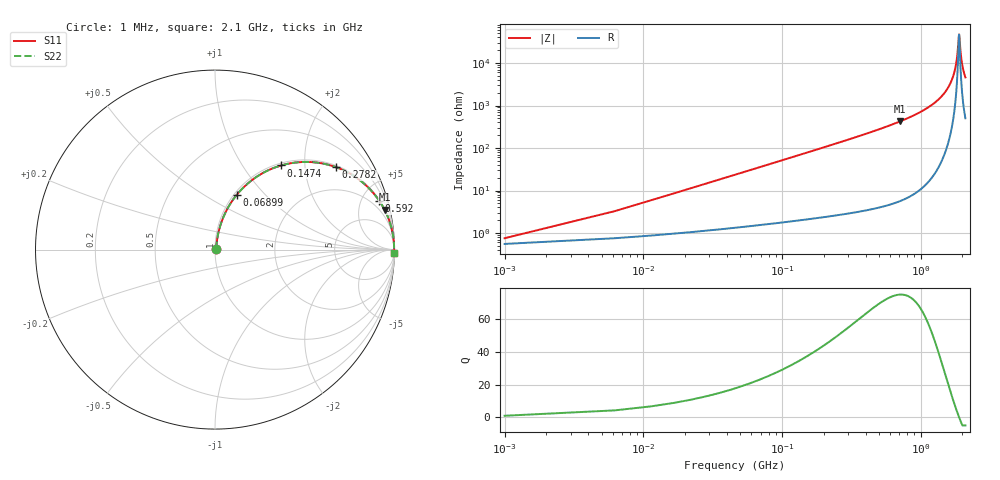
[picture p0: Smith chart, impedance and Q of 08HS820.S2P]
! Coilcraft 0805HS-820 Chip Inductor
! 13 June 2002
# MHZ S MA R 50
!Freq  MagS11  AngS11  MagS21  AngS21  MagS12  AngS12  MagS22  AngS22
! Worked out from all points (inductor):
!   403 points, 1 MHz to 2.1 GHz, reference 50 ohm
!   read as one part in series: L = 81.4 nH near 11.46 MHz
!   highest Q = 75 at 712.3 MHz (marker M1), where L = 94.9 nH
!   self-resonance near 1.889 GHz
!   S11 on the Smith chart (normalised r, x): 1 MHz: 1.01, +0.01; 68.99 MHz: 1.03, +0.71; 147.4 MHz: 1.04, +1.52; 278.2 MHz: 1.06, +2.91; 592 MHz: 1.09, +6.71; 2.1 GHz: 11, -91
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1  0.007498 42.4  0.9945 -0.3  0.9945 -0.3  0.007498 42.4
16.69  0.08479 78.7  0.9869 -4.8  0.9869 -4.8  0.08479 78.7
21.92  0.1108 78.3  0.9836 -6.3  0.9836 -6.3  0.1108 78.3
42.84  0.2119 74.4  0.9649 -12.2  0.9649 -12.2  0.2119 74.4
68.99  0.329 68.3  0.9302 -19.2  0.9302 -19.2  0.329 68.3
147.44  0.5968 51.8  0.7863 -36.6  0.7863 -36.6  0.5968 51.8
278.19  0.8168 34.2  0.5616 -54.8  0.5616 -54.8  0.8168 34.2
351.41  0.8749 28.0  0.4699 -61.0  0.4699 -61.0  0.8749 28.0
591.99  0.9548 16.5  0.2844 -72.7  0.2844 -72.7  0.9548 16.5
701.82  0.9694 13.5  0.2329 -75.8  0.2329 -75.8  0.9694 13.5
712.28  0.9705 13.2  0.2286 -76.0  0.2286 -76.0  0.9705 13.2
1052.23  0.9899 7.3  0.127 -81.8  0.127 -81.8  0.9899 7.3
1402.64  0.9962 3.6  0.06251 -84.8  0.06251 -84.8  0.9962 3.6
1611.84  0.9976 1.9  0.03317 -84.9  0.03317 -84.9  0.9976 1.9
1753.05  0.9979 0.9  0.01581 -81.9  0.01581 -81.9  0.9979 0.9
1821.04  0.9979 0.4  0.008085 -74.9  0.008085 -74.9  0.9979 0.4
1878.57  0.9979 0.1  0.002527 -33.7  0.002527 -33.7  0.9979 0.1
1894.26  0.9979 -0.0  0.00214 8.3  0.00214 8.3  0.9979 -0.0
1941.33  0.9978 -0.3  0.005795 67.7  0.005795 67.7  0.9978 -0.3
1977.94  0.9977 -0.5  0.00949 76.0  0.00949 76.0  0.9977 -0.5
2030.24  0.9976 -0.8  0.01479 80.3  0.01479 80.3  0.9976 -0.8
2100  0.9974 -1.2  0.02173 82.5  0.02173 82.5  0.9974 -1.2
